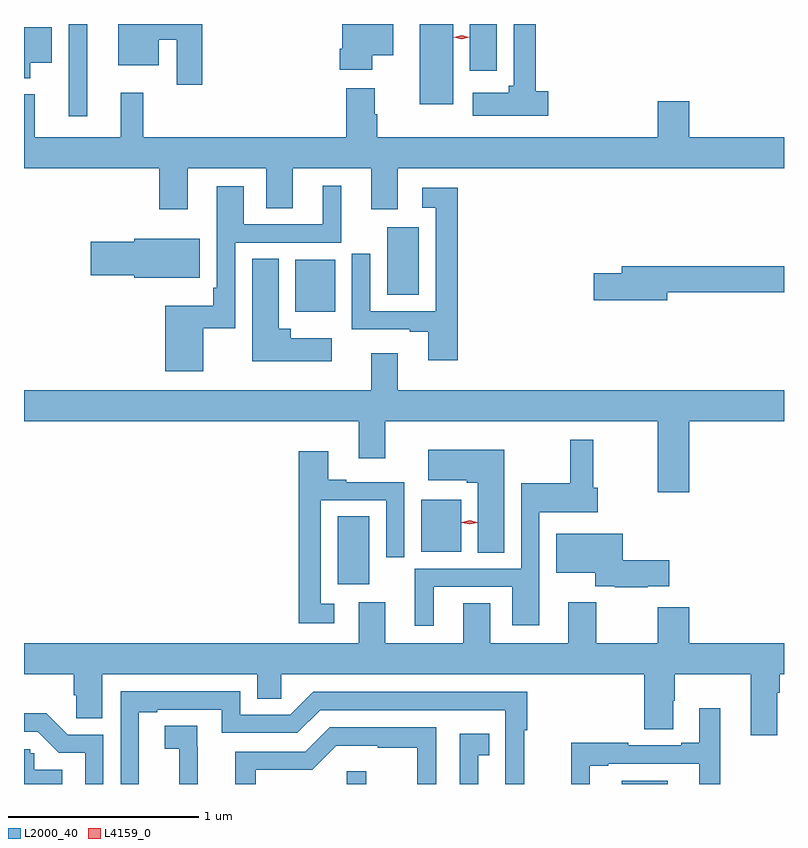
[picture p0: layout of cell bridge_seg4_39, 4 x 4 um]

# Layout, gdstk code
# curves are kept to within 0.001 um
import gdstk
lib = gdstk.Library(unit=1e-6, precision=1e-09)
def R(c, l, rs):  # rectangles x0, y0, x1, y1
    for r in rs: c.add(gdstk.rectangle(r[:2], r[2:], *l))
def P(c, l, *ps):  # polygons
    for p in ps: c.add(gdstk.Polygon(p, *l))
L2000_40 = (2000, 40)
L4159_0 = (4159, 0)

bridge_seg4_39 = lib.new_cell('bridge_seg4_39')
R(bridge_seg4_39, L2000_40, [(678.855,808.231,678.956,808.297), (680.303,808.231,680.545,808.249), (678.806,809.283,678.973,809.639), (679.247,809.453,679.456,809.728), (678.584,810.716,678.793,810.991), (679.067,810.805,679.234,811.162), (677.391,811.746,677.488,812.231), (679.238,811.808,679.414,812.231), (679.502,811.986,679.645,812.231)])
P(bridge_seg4_39, L2000_40, [(679.915,811.878),(679.85,811.878),(679.85,812.231),(679.734,812.231),(679.734,811.905),(679.708,811.905),(679.708,811.87),(679.518,811.87),(679.518,811.748),(679.915,811.748)],
  [(678.095,812.231),(677.651,812.231),(677.651,812.015),(677.866,812.015),(677.866,812.147),(677.96,812.147),(677.96,811.911),(678.095,811.911)],
  [(678.988,812.066),(679.099,812.066),(679.099,812.231),(678.83,812.231),(678.83,812.101),(678.818,812.101),(678.818,811.989),(678.988,811.989)],
  [(677.188,812.027),(677.302,812.027),(677.302,812.215),(677.156,812.215),(677.156,811.946),(677.188,811.946)],
  [(678.019,811.472),(678.431,811.472),(678.431,811.261),(678.571,811.261),(678.571,811.472),(678.983,811.472),(678.983,811.257),(679.123,811.257),(679.123,811.472),(681.156,811.472),(681.156,811.636),(680.656,811.636),(680.656,811.825),(680.492,811.825),(680.492,811.636),(679.016,811.636),(679.016,811.757),(679.003,811.757),(679.003,811.894),(678.851,811.894),(678.851,811.636),(677.783,811.636),(677.783,811.87),(677.666,811.87),(677.666,811.636),(677.213,811.636),(677.213,811.861),(677.156,811.861),(677.156,811.472),(677.867,811.472),(677.867,811.257),(678.019,811.257)],
  [(678.1,810.631),(678.267,810.631),(678.267,811.08),(678.827,811.08),(678.827,811.381),(678.728,811.381),(678.728,811.176),(678.313,811.176),(678.313,811.378),(678.171,811.378),(678.171,810.844),(678.151,810.844),(678.151,810.748),(677.9,810.748),(677.9,810.404),(678.1,810.404)],
  [(679.439,811.369),(679.251,811.369),(679.251,811.263),(679.323,811.263),(679.323,810.72),(678.978,810.72),(678.978,811.021),(678.882,811.021),(678.882,810.624),(679.187,810.624),(679.187,810.612),(679.283,810.612),(679.283,810.462),(679.439,810.462)],
  [(678.082,811.102),(677.736,811.102),(677.736,811.086),(677.508,811.086),(677.508,810.908),(677.736,810.908),(677.736,810.896),(678.082,810.896)],
  [(678.775,810.577),(678.559,810.577),(678.559,810.628),(678.496,810.628),(678.496,810.995),(678.356,810.995),(678.356,810.455),(678.775,810.455)],
  [(680.542,810.82),(681.156,810.82),(681.156,810.956),(680.303,810.956),(680.303,810.92),(680.154,810.92),(680.154,810.778),(680.542,810.778)],
  [(680.656,810.14),(681.156,810.14),(681.156,810.304),(679.123,810.304),(679.123,810.499),(678.983,810.499),(678.983,810.304),(677.156,810.304),(677.156,810.14),(678.917,810.14),(678.917,809.946),(679.057,809.946),(679.057,810.14),(680.492,810.14),(680.492,809.766),(680.656,809.766)],
  [(679.312,809.268),(679.727,809.268),(679.727,809.067),(679.869,809.067),(679.869,809.66),(680.176,809.66),(680.176,809.79),(680.152,809.79),(680.152,810.043),(680.031,810.043),(680.031,809.814),(679.773,809.814),(679.773,809.364),(679.213,809.364),(679.213,809.064),(679.312,809.064)],
  [(679.684,809.989),(679.284,809.989),(679.284,809.831),(679.485,809.831),(679.485,809.816),(679.544,809.816),(679.544,809.449),(679.684,809.449)],
  [(678.79,809.181),(678.717,809.181),(678.717,809.724),(679.062,809.724),(679.062,809.424),(679.158,809.424),(679.158,809.82),(678.853,809.82),(678.853,809.833),(678.757,809.833),(678.757,809.983),(678.601,809.983),(678.601,809.076),(678.79,809.076)],
  [(680.438,809.273),(680.551,809.273),(680.551,809.408),(680.308,809.408),(680.308,809.548),(679.958,809.548),(679.958,809.342),(680.162,809.342),(680.162,809.273),(680.266,809.273),(680.266,809.266),(680.438,809.266)],
  [(681.121,808.712),(681.134,808.712),(681.134,808.808),(681.156,808.808),(681.156,808.972),(680.656,808.972),(680.656,809.161),(680.492,809.161),(680.492,808.972),(680.169,808.972),(680.169,809.188),(680.021,809.188),(680.021,808.972),(679.609,808.972),(679.609,809.183),(679.469,809.183),(679.469,808.972),(679.057,808.972),(679.057,809.188),(678.917,809.188),(678.917,808.972),(677.156,808.972),(677.156,808.808),(677.417,808.808),(677.417,808.699),(677.43,808.699),(677.43,808.576),(677.569,808.576),(677.569,808.808),(678.383,808.808),(678.383,808.681),(678.51,808.681),(678.51,808.808),(680.42,808.808),(680.42,808.519),(680.572,808.519),(680.572,808.67),(680.58,808.67),(680.58,808.808),(680.981,808.808),(680.981,808.488),(681.121,808.488)],
  [(677.761,808.608),(677.857,808.608),(677.857,808.623),(678.198,808.623),(678.198,808.5),(678.594,808.5),(678.714,808.62),(679.689,808.62),(679.688,808.231),(679.788,808.231),(679.788,808.513),(679.805,808.513),(679.805,808.716),(678.678,808.716),(678.558,808.596),(678.294,808.596),(678.294,808.719),(677.664,808.719),(677.664,808.231),(677.761,808.231)],
  [(680.134,808.326),(680.23,808.326),(680.23,808.338),(680.711,808.338),(680.711,808.231),(680.821,808.231),(680.821,808.63),(680.711,808.63),(680.711,808.447),(680.615,808.447),(680.615,808.434),(680.336,808.434),(680.336,808.447),(680.035,808.447),(680.035,808.231),(680.134,808.231)],
  [(677.574,808.491),(677.385,808.491),(677.272,808.604),(677.156,808.604),(677.156,808.506),(677.229,808.506),(677.34,808.395),(677.478,808.395),(677.478,808.231),(677.574,808.231)],
  [(678.07,808.427),(678.068,808.427),(678.068,808.538),(677.898,808.538),(677.898,808.417),(677.972,808.417),(677.972,808.231),(678.07,808.231)],
  [(678.376,808.305),(678.672,808.305),(678.8,808.433),(679.019,808.433),(679.019,808.422),(679.225,808.422),(679.225,808.231),(679.326,808.231),(679.326,808.53),(678.765,808.53),(678.636,808.401),(678.269,808.401),(678.269,808.231),(678.376,808.231)],
  [(679.546,808.382),(679.604,808.382),(679.604,808.495),(679.449,808.495),(679.449,808.231),(679.546,808.231)],
  [(677.356,808.306),(677.211,808.306),(677.211,808.392),(677.19,808.392),(677.19,808.413),(677.156,808.413),(677.156,808.231),(677.356,808.231)])
P(bridge_seg4_39, L4159_0, [(679.501,809.598),(679.46,809.607),(679.46,809.608),(679.46,809.608),(679.501,809.618),(679.542,809.608),(679.542,809.608),(679.542,809.607)],
  [(679.459,812.152),(679.418,812.161),(679.418,812.162),(679.418,812.162),(679.459,812.172),(679.499,812.162),(679.499,812.162),(679.499,812.162)])

lib.write_gds('bridge_seg4_39.gds')
